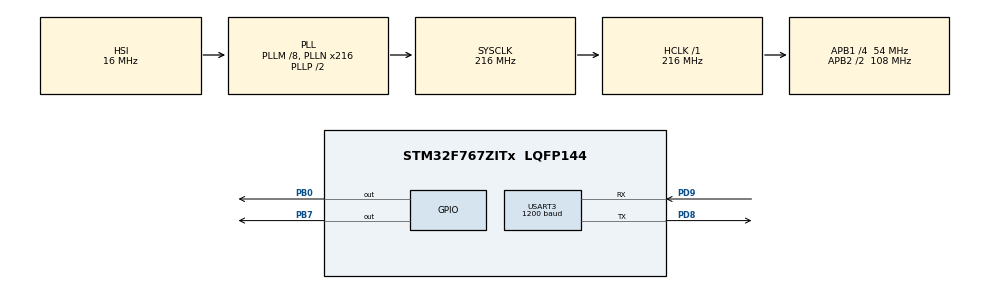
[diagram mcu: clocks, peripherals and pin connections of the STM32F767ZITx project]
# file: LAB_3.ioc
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CORTEX_M7.default_mode_Activation=1
Mcu.Family=STM32F7
Mcu.Name=STM32F767ZITx
Mcu.Package=LQFP144
NVIC.PriorityGroup=NVIC_PRIORITYGROUP_4
PB0.Signal=GPIO_Output
PB7.Signal=GPIO_Output
PD8.Mode=Asynchronous
PD8.Signal=USART3_TX
PD9.Mode=Asynchronous
PD9.Signal=USART3_RX
ProjectManager.HeapSize=0x200
ProjectManager.StackSize=0x400
ProjectManager.TargetToolchain=STM32CubeIDE
RCC.AHBFreq_Value=216000000
RCC.APB1CLKDivider=RCC_HCLK_DIV4
RCC.APB1Freq_Value=54000000
RCC.APB1TimFreq_Value=108000000
RCC.APB2CLKDivider=RCC_HCLK_DIV2
RCC.APB2Freq_Value=108000000
RCC.APB2TimFreq_Value=216000000
RCC.CortexFreq_Value=216000000
RCC.HCLKFreq_Value=216000000
RCC.HSE_VALUE=25000000
RCC.HSI_VALUE=16000000
RCC.LSE_VALUE=32768
RCC.PLLM=8
RCC.PLLN=216
RCC.SYSCLKFreq_VALUE=216000000
RCC.SYSCLKSource=RCC_SYSCLKSOURCE_PLLCLK
RCC.USBFreq_Value=216000000
RCC.VCOOutputFreq_Value=432000000
USART3.BaudRate=1200
USART3.VirtualMode-Asynchronous=VM_ASYNC
board=custom

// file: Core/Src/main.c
/* USER CODE BEGIN Header */
/**
  ******************************************************************************
  * @file           : main.c
  * @brief          : Main program body
  ******************************************************************************
  * @attention
  *
  * Copyright (c) 2025 STMicroelectronics.
  * All rights reserved.
  *
  * This software is licensed under terms that can be found in the LICENSE file
  * in the root directory of this software component.
  * If no LICENSE file comes with this software, it is provided AS-IS.
  *
  ******************************************************************************
  */
/* USER CODE END Header */
#include "main.h"

/* USER CODE BEGIN Includes */
#include "string.h"
/* USER CODE END Includes */

UART_HandleTypeDef huart3;

/* USER CODE BEGIN PV */
char ch1;
char title[] = "Display Blinking LED PRESS (1, 2)\r\n"
		"Display Group Members PRESS m\r\n"
		"Quit PRESS q\r\n"
		"	Input => ";
char input_str[] = "\r\nInput => ";
char student_num[] = "\r\n67015026"; // 11
char name[] = "\r\nChatnarint  Boonsaeng";// 24
char unknown_cmd[] = "\r\nUnknown Command"; // 16
char exit_cmd[] = "\r\nQUIT\r\n"; // 9
char hello_world[] = "\r\nHello World\r\n";
/* USER CODE END PV */

void SystemClock_Config(void);
static void MPU_Config(void);
static void MX_GPIO_Init(void);
static void MX_USART3_UART_Init(void);
/* USER CODE BEGIN PFP */
void Send_Hello_World_UART(void);
/* USER CODE END PFP */

int main(void)
{

  /* MPU Configuration--------------------------------------------------------*/
  MPU_Config();

  /* MCU Configuration--------------------------------------------------------*/

  /* Reset of all peripherals, Initializes the Flash interface and the Systick. */
  HAL_Init();

  /* Configure the system clock */
  SystemClock_Config();

  /* Initialize all configured peripherals */
  MX_GPIO_Init();
  MX_USART3_UART_Init();
  /* USER CODE BEGIN 2 */
  HAL_UART_Transmit(&huart3, (uint8_t*) title, strlen(title), 1000);
  /* USER CODE END 2 */

  /* Infinite loop */
  while (1)
  {

    /* USER CODE BEGIN 3 */
	  while (__HAL_UART_GET_FLAG(&huart3, UART_FLAG_RXNE) == 0) {}
	  HAL_UART_Receive(&huart3, (uint8_t*) &ch1, 1, 1000);

	  while (__HAL_UART_GET_FLAG(&huart3, UART_FLAG_TC) == 0) {}
	  HAL_UART_Transmit(&huart3, (uint8_t*) &ch1, 1, 1000);

	  if (ch1 == 0x71) {
		  HAL_UART_Transmit(&huart3, (uint8_t*) exit_cmd, strlen(exit_cmd), 1000);
		  break;
	  } else if (ch1 == 0x31) {
		  for (uint8_t i=1; i<=3; i++) {
			  HAL_GPIO_WritePin(GPIOB, GPIO_PIN_0, 1);
			  HAL_Delay(300);
			  HAL_GPIO_WritePin(GPIOB, GPIO_PIN_0, 0);
			  HAL_Delay(300);
		  }
	  } else if (ch1 == 0x32) {
		  for (uint8_t i=1; i<=3; i++) {
			  HAL_GPIO_WritePin(GPIOB, GPIO_PIN_7, 1);
			  HAL_Delay(300);
			  HAL_GPIO_WritePin(GPIOB, GPIO_PIN_7, 0);
			  HAL_Delay(300);
		  }
	  } else if (ch1 == 0x6D) {
		  HAL_UART_Transmit(&huart3, (uint8_t*) student_num, strlen(student_num), 1000);
		  HAL_UART_Transmit(&huart3, (uint8_t*) name, strlen(name), 1000);
	  } else {
		  HAL_UART_Transmit(&huart3, (uint8_t*) unknown_cmd, strlen(unknown_cmd), 1000);
	  }

	  HAL_UART_Transmit(&huart3, (uint8_t*) input_str, strlen(input_str), 1000);

	  HAL_Delay(10);
  }
  /* USER CODE END 3 */
}

void SystemClock_Config(void)
{
  RCC_OscInitTypeDef RCC_OscInitStruct = {0};
  RCC_ClkInitTypeDef RCC_ClkInitStruct = {0};

  /** Configure the main internal regulator output voltage
  */
  __HAL_RCC_PWR_CLK_ENABLE();
  __HAL_PWR_VOLTAGESCALING_CONFIG(PWR_REGULATOR_VOLTAGE_SCALE1);

  /** Initializes the RCC Oscillators according to the specified parameters
  * in the RCC_OscInitTypeDef structure.
  */
  RCC_OscInitStruct.OscillatorType = RCC_OSCILLATORTYPE_HSI;
  RCC_OscInitStruct.HSIState = RCC_HSI_ON;
  RCC_OscInitStruct.HSICalibrationValue = RCC_HSICALIBRATION_DEFAULT;
  RCC_OscInitStruct.PLL.PLLState = RCC_PLL_ON;
  RCC_OscInitStruct.PLL.PLLSource = RCC_PLLSOURCE_HSI;
  RCC_OscInitStruct.PLL.PLLM = 8;
  RCC_OscInitStruct.PLL.PLLN = 216;
  RCC_OscInitStruct.PLL.PLLP = RCC_PLLP_DIV2;
  RCC_OscInitStruct.PLL.PLLQ = 2;
  RCC_OscInitStruct.PLL.PLLR = 2;
  if (HAL_RCC_OscConfig(&RCC_OscInitStruct) != HAL_OK)
  {
    Error_Handler();
  }

  /** Activate the Over-Drive mode
  */
  if (HAL_PWREx_EnableOverDrive() != HAL_OK)
  {
    Error_Handler();
  }

  /** Initializes the CPU, AHB and APB buses clocks
  */
  RCC_ClkInitStruct.ClockType = RCC_CLOCKTYPE_HCLK|RCC_CLOCKTYPE_SYSCLK
                              |RCC_CLOCKTYPE_PCLK1|RCC_CLOCKTYPE_PCLK2;
  RCC_ClkInitStruct.SYSCLKSource = RCC_SYSCLKSOURCE_PLLCLK;
  RCC_ClkInitStruct.AHBCLKDivider = RCC_SYSCLK_DIV1;
  RCC_ClkInitStruct.APB1CLKDivider = RCC_HCLK_DIV4;
  RCC_ClkInitStruct.APB2CLKDivider = RCC_HCLK_DIV2;

  if (HAL_RCC_ClockConfig(&RCC_ClkInitStruct, FLASH_LATENCY_7) != HAL_OK)
  {
    Error_Handler();
  }
}

static void MX_USART3_UART_Init(void)
{

  huart3.Instance = USART3;
  huart3.Init.BaudRate = 115200;
  huart3.Init.WordLength = UART_WORDLENGTH_8B;
  huart3.Init.StopBits = UART_STOPBITS_1;
  huart3.Init.Parity = UART_PARITY_NONE;
  huart3.Init.Mode = UART_MODE_TX_RX;
  huart3.Init.HwFlowCtl = UART_HWCONTROL_NONE;
  huart3.Init.OverSampling = UART_OVERSAMPLING_16;
  huart3.Init.OneBitSampling = UART_ONE_BIT_SAMPLE_DISABLE;
  huart3.AdvancedInit.AdvFeatureInit = UART_ADVFEATURE_NO_INIT;
  if (HAL_UART_Init(&huart3) != HAL_OK)
  {
    Error_Handler();
  }

}

static void MX_GPIO_Init(void)
{
  GPIO_InitTypeDef GPIO_InitStruct = {0};

  /* GPIO Ports Clock Enable */
  __HAL_RCC_GPIOB_CLK_ENABLE();
  __HAL_RCC_GPIOD_CLK_ENABLE();

  /*Configure GPIO pin Output Level */
  HAL_GPIO_WritePin(GPIOB, GPIO_PIN_0|GPIO_PIN_7, GPIO_PIN_RESET);

  /*Configure GPIO pins : PB0 PB7 */
  GPIO_InitStruct.Pin = GPIO_PIN_0|GPIO_PIN_7;
  GPIO_InitStruct.Mode = GPIO_MODE_OUTPUT_PP;
  GPIO_InitStruct.Pull = GPIO_NOPULL;
  GPIO_InitStruct.Speed = GPIO_SPEED_FREQ_LOW;
  HAL_GPIO_Init(GPIOB, &GPIO_InitStruct);

}

/* USER CODE BEGIN 4 */
void Send_Hello_World_UART(void) {
	char str[] = "Hello, World!!\r\n";

	while (__HAL_UART_GET_FLAG(&huart3, UART_FLAG_TC) == 0) {}
	HAL_UART_Transmit(&huart3, (uint8_t*) str, strlen(str), 1000);

	HAL_Delay(500);
}
/* USER CODE END 4 */

 /* MPU Configuration */

void MPU_Config(void)
{
  MPU_Region_InitTypeDef MPU_InitStruct = {0};

  /* Disables the MPU */
  HAL_MPU_Disable();

  /** Initializes and configures the Region and the memory to be protected
  */
  MPU_InitStruct.Enable = MPU_REGION_ENABLE;
  MPU_InitStruct.Number = MPU_REGION_NUMBER0;
  MPU_InitStruct.BaseAddress = 0x0;
  MPU_InitStruct.Size = MPU_REGION_SIZE_4GB;
  MPU_InitStruct.SubRegionDisable = 0x87;
  MPU_InitStruct.TypeExtField = MPU_TEX_LEVEL0;
  MPU_InitStruct.AccessPermission = MPU_REGION_NO_ACCESS;
  MPU_InitStruct.DisableExec = MPU_INSTRUCTION_ACCESS_DISABLE;
  MPU_InitStruct.IsShareable = MPU_ACCESS_SHAREABLE;
  MPU_InitStruct.IsCacheable = MPU_ACCESS_NOT_CACHEABLE;
  MPU_InitStruct.IsBufferable = MPU_ACCESS_NOT_BUFFERABLE;

  HAL_MPU_ConfigRegion(&MPU_InitStruct);
  /* Enables the MPU */
  HAL_MPU_Enable(MPU_PRIVILEGED_DEFAULT);

}

void Error_Handler(void)
{
  __disable_irq();
  while (1)
  {
  }
}
